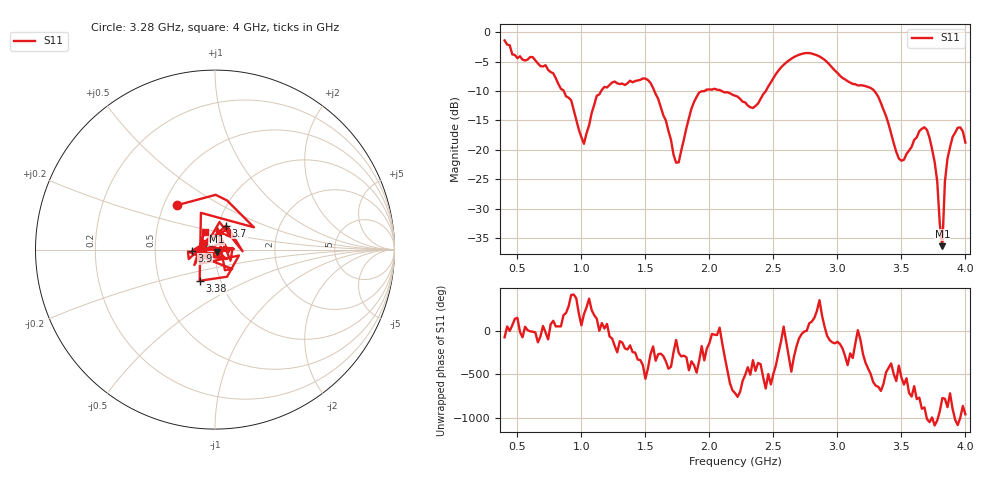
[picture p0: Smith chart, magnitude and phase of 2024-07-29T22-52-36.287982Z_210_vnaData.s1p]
!Created with skrf (http://scikit-rf.org).
# Hz S RI R 50.0
!freq ReS11 ImS11
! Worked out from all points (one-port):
!   181 points, 400 MHz to 4 GHz, reference 50 ohm
!   lowest |S11| = -36.4 dB at 3.82 GHz (marker M1), VSWR 1.03, Z = 50.9 - j1.23 ohm
!   |S11| at or under -10 dB: 1.57 GHz to 1.962 GHz (391.4 MHz wide, 22.2 % of centre); 2.096 GHz to 2.441 GHz (344.5 MHz wide, 15.2 % of centre); 3.289 GHz to end of sweep (the widest 3 of 4)
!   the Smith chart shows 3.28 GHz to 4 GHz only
!   S11 on the Smith chart (normalised r, x): 3.28 GHz: 0.59, +0.33; 3.38 GHz: 0.80, -0.29; 3.7 GHz: 1.09, +0.30; 3.9 GHz: 0.77, -0.01; 4 GHz: 0.87, +0.18
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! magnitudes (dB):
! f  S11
! 400 MHz  -1.4
! 720 MHz  -5.6
! 860 MHz  -9.9
! 920 MHz  -11.6
! 1.02 GHz  -19.0
! 1.12 GHz  -10.8
! 1.3 GHz  -8.8
! 1.54 GHz  -8.6
! 1.76 GHz  -22.1
! 1.86 GHz  -13.0
! 1.92 GHz  -10.2
! 2.2 GHz  -10.8
! 2.34 GHz  -12.9
! 2.66 GHz  -4.2
! 2.84 GHz  -3.9
! 3.1 GHz  -8.6
! 3.28 GHz  -9.8
! 3.38 GHz  -14.3
! 3.48 GHz  -21.5
! 3.56 GHz  -20.1
! 3.7 GHz  -16.6
! 3.78 GHz  -25.4
! 3.8 GHz  -32.6
! 3.82 GHz  -36.4
! 3.84 GHz  -25.4
! 3.9 GHz  -17.8
! 3.96 GHz  -16.2
! 4 GHz  -18.8
